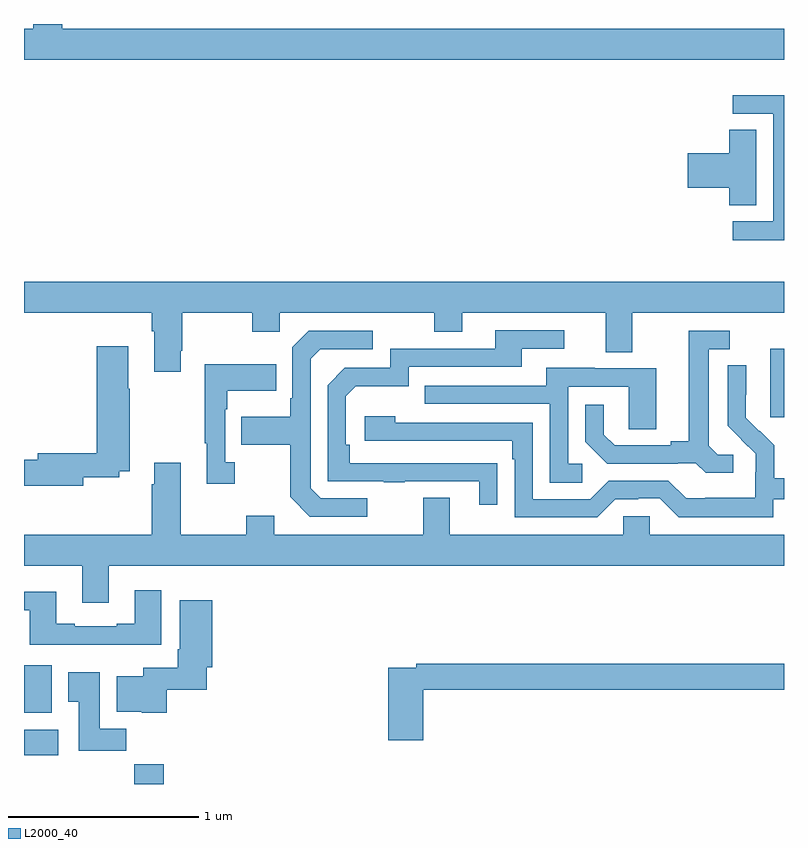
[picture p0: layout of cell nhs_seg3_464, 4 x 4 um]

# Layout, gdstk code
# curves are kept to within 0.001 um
import gdstk
lib = gdstk.Library(unit=1e-6, precision=1e-09)
def R(c, l, rs):  # rectangles x0, y0, x1, y1
    for r in rs: c.add(gdstk.rectangle(r[:2], r[2:], *l))
def P(c, l, *ps):  # polygons
    for p in ps: c.add(gdstk.Polygon(p, *l))
L2000_40 = (2000, 40)

nhs_seg3_464 = lib.new_cell('nhs_seg3_464')
R(nhs_seg3_464, L2000_40, [(133.579,734.4,133.736,734.504), (133,734.552,133.18,734.686), (133,734.774,133.147,735.024), (136.928,736.329,137,736.69)])
P(nhs_seg3_464, L2000_40, [(137,738.376),(133.202,738.376),(133.202,738.4),(133.049,738.4),(133.049,738.376),(133,738.376),(133,738.212),(137,738.212)],
  [(137,738.024),(136.731,738.024),(136.731,737.928),(136.944,737.928),(136.944,737.361),(136.731,737.361),(136.731,737.263),(137,737.263)],
  [(136.855,737.843),(136.712,737.843),(136.712,737.72),(136.494,737.72),(136.494,737.537),(136.712,737.537),(136.712,737.446),(136.855,737.446)],
  [(133.825,736.681),(133.833,736.681),(133.833,736.88),(134.2,736.88),(134.2,736.781),(134.346,736.781),(134.346,736.88),(135.16,736.88),(135.16,736.781),(135.307,736.781),(135.307,736.88),(136.061,736.88),(136.061,736.672),(136.201,736.672),(136.201,736.88),(137,736.88),(137,737.044),(133,737.044),(133,736.88),(133.673,736.88),(133.673,736.784),(133.685,736.784),(133.685,736.569),(133.825,736.569)],
  [(135.491,736.088),(134.714,736.089),(134.714,736.186),(134.694,736.186),(134.694,736.44),(134.747,736.493),(135.024,736.493),(135.024,736.596),(135.619,736.596),(135.619,736.692),(135.844,736.692),(135.844,736.788),(135.479,736.788),(135.479,736.692),(134.928,736.692),(134.928,736.59),(134.688,736.59),(134.598,736.5),(134.598,735.993),(134.893,735.993),(134.893,735.988),(135.005,735.988),(135.005,735.993),(135.395,735.993),(135.395,735.87),(135.491,735.87)],
  [(134.806,735.903),(134.562,735.903),(134.508,735.957),(134.508,736.638),(134.559,736.689),(134.836,736.689),(134.836,736.785),(134.499,736.785),(134.412,736.698),(134.412,736.429),(134.4,736.429),(134.4,736.333),(134.143,736.333),(134.143,736.186),(134.4,736.186),(134.4,735.913),(134.505,735.807),(134.806,735.807)],
  [(136.732,736.134),(136.65,736.134),(136.603,736.181),(136.603,736.689),(136.714,736.689),(136.714,736.785),(136.499,736.785),(136.499,736.205),(136.403,736.205),(136.403,736.182),(136.108,736.182),(136.051,736.239),(136.051,736.396),(135.954,736.396),(135.954,736.202),(136.07,736.086),(136.442,736.086),(136.442,736.089),(136.536,736.089),(136.588,736.037),(136.732,736.037)],
  [(133.312,736.014),(133.5,736.014),(133.5,736.046),(133.557,736.046),(133.557,736.481),(133.549,736.481),(133.549,736.705),(133.382,736.705),(133.382,736.142),(133.073,736.142),(133.073,736.106),(133,736.106),(133,735.971),(133.312,735.971)],
  [(134.11,736.094),(134.058,736.094),(134.058,736.373),(134.071,736.373),(134.071,736.469),(134.327,736.469),(134.327,736.609),(133.95,736.609),(133.95,736.193),(133.961,736.193),(133.961,735.981),(134.11,735.981)],
  [(136.944,735.9),(137,735.9),(137,736.009),(136.949,736.009),(136.949,736.183),(136.872,736.26),(136.869,736.257),(136.799,736.328),(136.8,736.604),(136.704,736.604),(136.704,736.286),(136.85,736.138),(136.85,736.041),(136.848,736.041),(136.848,735.907),(136.585,735.907),(136.585,735.903),(136.485,735.903),(136.392,735.996),(136.077,735.996),(135.981,735.9),(135.678,735.9),(135.678,736.302),(134.954,736.302),(134.954,736.336),(134.793,736.336),(134.793,736.206),(135.569,736.206),(135.569,736.109),(135.582,736.109),(135.582,735.804),(136.017,735.804),(136.113,735.9),(136.232,735.9),(136.232,735.903),(136.347,735.903),(136.447,735.803),(136.944,735.803)],
  [(135.937,736.086),(135.864,736.086),(135.864,736.491),(136.182,736.491),(136.182,736.267),(136.327,736.267),(136.327,736.587),(136.003,736.587),(136.003,736.591),(135.749,736.591),(135.749,736.497),(135.109,736.497),(135.109,736.401),(135.768,736.401),(135.768,735.985),(135.937,735.985)],
  [(133.447,735.548),(137,735.548),(137,735.712),(136.293,735.712),(136.293,735.81),(136.155,735.81),(136.155,735.712),(135.241,735.712),(135.241,735.907),(135.101,735.907),(135.101,735.712),(134.317,735.712),(134.317,735.811),(134.17,735.811),(134.17,735.712),(133.825,735.712),(133.825,736.09),(133.685,736.09),(133.685,735.977),(133.673,735.977),(133.673,735.712),(133,735.712),(133,735.548),(133.307,735.548),(133.307,735.354),(133.447,735.354)],
  [(133.723,735.421),(133.583,735.421),(133.583,735.244),(133.487,735.244),(133.487,735.231),(133.267,735.231),(133.267,735.244),(133.171,735.244),(133.171,735.412),(133,735.412),(133,735.315),(133.031,735.315),(133.031,735.134),(133.723,735.134)],
  [(133.751,734.896),(133.961,734.896),(133.961,735.014),(133.991,735.014),(133.991,735.367),(133.82,735.367),(133.82,735.109),(133.808,735.109),(133.808,735.012),(133.628,735.012),(133.628,734.968),(133.487,734.968),(133.487,734.78),(133.62,734.78),(133.62,734.774),(133.751,734.774)],
  [(135.101,734.896),(137,734.896),(137,735.032),(135.064,735.032),(135.064,735.012),(134.918,735.012),(134.918,734.631),(135.101,734.631)],
  [(133.538,734.692),(133.399,734.692),(133.399,734.989),(133.232,734.989),(133.232,734.833),(133.289,734.833),(133.289,734.574),(133.538,734.574)])

lib.write_gds('nhs_seg3_464.gds')
